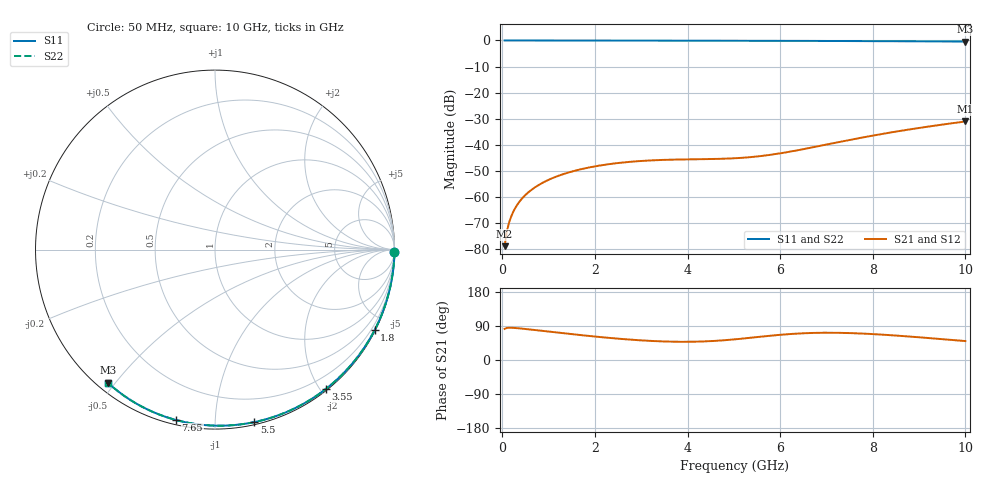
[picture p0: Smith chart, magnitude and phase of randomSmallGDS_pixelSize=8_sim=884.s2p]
! freq	dB(S11)	phase(S11)	dB(S12)	phase(S12)
!  dB(S21)	phase(S21)	dB(S22)	phase(S22)
!S-par simulation data
#  GHz  S  DB  R 50
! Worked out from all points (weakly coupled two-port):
!   200 points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, 50 MHz to 10 GHz, reference 50 ohm
!   highest |S21| = -31.04 dB at 10 GHz (marker M1); lowest = -78.8 dB at 50 MHz (marker M2)
!   lowest |S11| = -0.4 dB at 10 GHz (marker M3), VSWR 40.58, Z = 1.51 - j23.9 ohm
!   |S11| at or under -10 dB: nowhere
!   |S22| runs from -0.4 to 0.0 dB; largest |S21 - S12| = 0
!   S11 on the Smith chart (normalised r, x): 50 MHz: open; 1.8 GHz: 0.04, -4.21; 3.55 GHz: 0.02, -2.07; 5.5 GHz: 0.02, -1.25; 7.65 GHz: 0.02, -0.80; 10 GHz: 0.03, -0.48
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0.05  -0.00 -0.8  -78.81 82.0  -78.81 82.0  -0.00 -0.8
0.1  -0.00 -1.5  -73.02 84.7  -73.02 84.7  -0.00 -1.5
0.15  -0.00 -2.3  -69.55 85.2  -69.55 85.2  -0.00 -2.3
0.2  -0.00 -3.0  -67.07 85.1  -67.07 85.1  -0.00 -3.0
0.25  -0.00 -3.8  -65.15 84.7  -65.15 84.7  -0.00 -3.8
0.35  -0.00 -5.3  -62.25 83.7  -62.25 83.7  -0.00 -5.3
0.5  -0.01 -7.5  -59.19 81.9  -59.19 81.9  -0.01 -7.5
0.7  -0.01 -10.5  -56.34 79.2  -56.34 79.2  -0.01 -10.5
1  -0.02 -15.0  -53.39 75.0  -53.39 75.0  -0.02 -15.0
1.35  -0.03 -20.2  -51.01 70.2  -51.01 70.2  -0.03 -20.2
1.75  -0.03 -26.0  -49.12 65.0  -49.12 65.0  -0.03 -26.0
1.8  -0.03 -26.7  -48.93 64.4  -48.93 64.4  -0.03 -26.7
2.5  -0.05 -36.8  -46.95 56.3  -46.95 56.3  -0.05 -36.8
3.4  -0.07 -49.5  -45.80 49.3  -45.80 49.3  -0.07 -49.5
3.55  -0.07 -51.5  -45.71 48.7  -45.71 48.7  -0.07 -51.5
4.3  -0.09 -61.7  -45.48 48.8  -45.48 48.8  -0.09 -61.7
5.05  -0.11 -71.5  -45.10 54.8  -45.10 54.8  -0.11 -71.5
5.5  -0.12 -77.2  -44.45 60.5  -44.45 60.5  -0.12 -77.2
6.7  -0.18 -91.9  -40.95 71.4  -40.95 71.4  -0.18 -91.9
7.65  -0.23 -103.0  -37.61 70.4  -37.61 70.4  -0.23 -103.0
8.35  -0.28 -110.9  -35.36 65.8  -35.36 65.8  -0.28 -110.9
10  -0.43 -128.9  -31.04 50.0  -31.04 50.0  -0.43 -128.9
